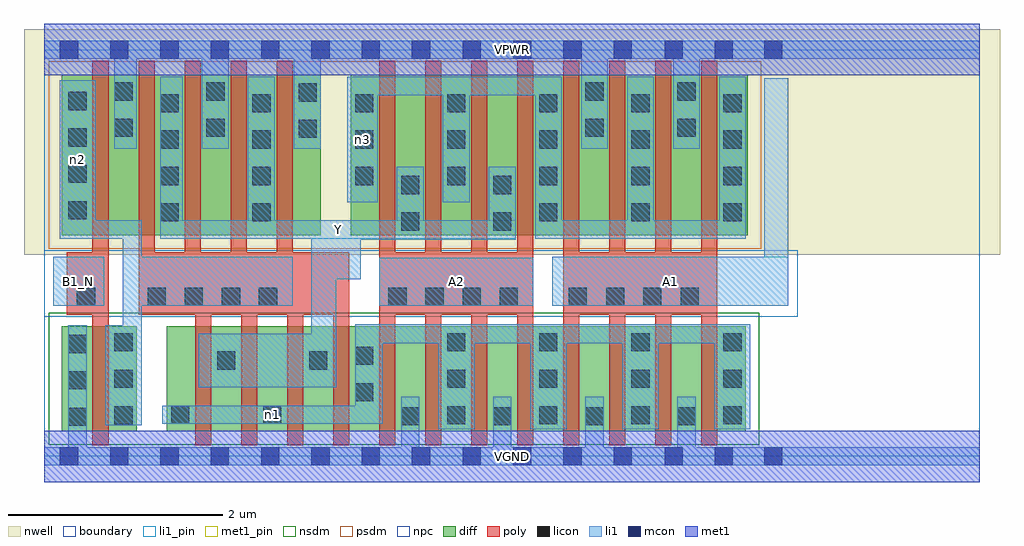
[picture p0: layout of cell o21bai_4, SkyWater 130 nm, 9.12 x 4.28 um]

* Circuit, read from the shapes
.subckt o21bai_4 A1 A2 B1_N VGND VPWR Y n1 n2 n3
XM1 n2 B1_N VGND VSUBS sky130_fd_pr__nfet_01v8 w=0.98 l=0.15
XM2 Y n2 n1 VSUBS sky130_fd_pr__nfet_01v8 w=0.98 l=0.15 m=4
XM3 VGND A2 n1 VSUBS sky130_fd_pr__nfet_01v8 w=0.98 l=0.15 m=4
XM4 VGND A1 n1 VSUBS sky130_fd_pr__nfet_01v8 w=0.98 l=0.15 m=4
XM5 VPWR B1_N n2 n4 sky130_fd_pr__pfet_01v8 w=1.5 l=0.15
XM6 Y n2 VPWR n4 sky130_fd_pr__pfet_01v8 w=1.5 l=0.15 m=4
XM7 Y A2 n3 n4 sky130_fd_pr__pfet_01v8 w=1.5 l=0.15 m=4
XM8 VPWR A1 n3 n4 sky130_fd_pr__pfet_01v8 w=1.5 l=0.15 m=4
.ends

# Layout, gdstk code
import gdstk
lib = gdstk.Library(unit=1e-6, precision=1e-09)
def R(c, l, rs):  # rectangles x0, y0, x1, y1
    for r in rs: c.add(gdstk.rectangle(r[:2], r[2:], *l))
def A(c, l, x, y, w, h, nx, ny, dx, dy):  # array of equal rectangles
    R(c, l, [(x+i*dx, y+j*dy, x+i*dx+w, y+j*dy+h) for i in range(nx) for j in range(ny)])
nwell = (64, 20)
diff = (65, 20)
poly = (66, 20)
licon = (66, 44)
li1_pin = (67, 16)
li1 = (67, 20)
mcon = (67, 44)
met1_pin = (68, 16)
met1 = (68, 20)
nsdm = (93, 44)
psdm = (94, 20)
npc = (95, 20)
boundary = (235, 4)

o21bai_4 = lib.new_cell('o21bai_4')
R(o21bai_4, nwell, [(-0.19,1.885,8.93,3.99), (0,1.885,8.74,3.99)])
R(o21bai_4, diff, [(0.165,0.235,0.865,1.215), (1.145,0.235,6.555,1.215), (0.165,2.065,2.585,3.565), (2.865,2.065,6.575,3.565)])
A(o21bai_4, poly, 1.41, 0.105, 0.15, 1.8, 4, 1, 0.43, 0)
A(o21bai_4, poly, 3.13, 0.105, 0.15, 3.59, 8, 1, 0.43, 0)
A(o21bai_4, poly, 0.88, 1.325, 0.15, 2.37, 4, 1, 0.43, 0)
R(o21bai_4, poly, [(0.45,0.105,0.6,3.695), (0.21,1.325,0.6,1.905), (0.88,1.325,2.85,1.905), (3.13,1.325,4.57,1.905), (4.85,1.325,6.29,1.905)])
A(o21bai_4, licon, 0.225, 0.285, 0.17, 0.17, 1, 3, 0, 0.34)
A(o21bai_4, licon, 3.335, 0.29, 0.17, 0.17, 4, 1, 0.86, 0)
A(o21bai_4, licon, 0.655, 0.3, 0.17, 0.17, 1, 3, 0, 0.34)
A(o21bai_4, licon, 3.765, 0.3, 0.17, 0.17, 4, 3, 0.86, 0.34)
A(o21bai_4, licon, 1.085, 2.195, 0.17, 0.17, 1, 4, 0, 0.34)
A(o21bai_4, licon, 1.945, 2.195, 0.17, 0.17, 1, 4, 0, 0.34)
A(o21bai_4, licon, 4.625, 2.195, 0.17, 0.17, 3, 1, 0.86, 0)
A(o21bai_4, licon, 0.225, 2.215, 0.17, 0.17, 1, 4, 0, 0.34)
A(o21bai_4, licon, 2.905, 2.535, 0.17, 0.17, 5, 3, 0.86, 0.34)
R(o21bai_4, licon, [(1.185,0.305,1.355,0.475), (2.045,0.305,2.215,0.475), (2.905,0.515,3.075,0.685), (1.615,0.81,1.785,0.98), (2.475,0.81,2.645,0.98), (2.905,0.855,3.075,1.025), (0.305,1.405,0.475,1.575), (0.965,1.405,1.135,1.575), (1.31,1.405,1.48,1.575), (1.66,1.405,1.83,1.575), (2.005,1.405,2.175,1.575), (3.215,1.405,3.385,1.575), (3.56,1.405,3.73,1.575), (3.91,1.405,4.08,1.575), (4.255,1.405,4.425,1.575), (4.9,1.405,5.07,1.575), (5.25,1.405,5.42,1.575), (5.595,1.405,5.765,1.575), (5.945,1.405,6.115,1.575), (3.335,2.11,3.505,2.28), (4.195,2.11,4.365,2.28), (3.335,2.45,3.505,2.62), (4.195,2.45,4.365,2.62), (2.375,2.975,2.545,3.145), (0.655,2.985,0.825,3.155), (1.515,2.985,1.685,3.155), (5.055,2.985,5.225,3.155), (5.915,2.985,6.085,3.155), (2.375,3.315,2.545,3.485), (0.655,3.325,0.825,3.495), (1.515,3.325,1.685,3.495), (5.055,3.325,5.225,3.495), (5.915,3.325,6.085,3.495)])
R(o21bai_4, li1_pin, [(0.085,1.405,0.56,1.865), (3.13,1.405,4.57,1.855), (4.745,1.405,6.95,1.865), (1.085,2.035,4.405,2.205)])
A(o21bai_4, li1, 3.335, -0.085, 0.17, 0.64, 4, 1, 0.86, 0)
A(o21bai_4, li1, 3.68, 0.255, 0.34, 0.98, 3, 1, 0.86, 0)
A(o21bai_4, li1, 4.585, 2.035, 0.25, 1.51, 3, 1, 0.86, 0)
R(o21bai_4, li1, [(0,-0.085,8.74,0.085), (0.225,-0.085,0.395,1.225), (6.26,0.255,6.595,1.235), (0.57,0.29,0.91,1.225), (0.735,0.29,0.91,2.205), (1.1,0.305,3.16,0.475), (2.905,0.305,3.16,1.235), (1.445,0.645,2.73,1.145), (2.495,0.645,2.73,2.205), (2.905,1.055,6.595,1.235), (0.085,1.405,0.56,1.865), (0.735,1.405,2.32,1.865), (3.13,1.405,4.57,1.855), (4.745,1.405,6.95,1.865), (6.725,1.405,6.95,3.535), (2.495,1.655,2.955,2.205), (2.495,2.025,4.405,2.205), (3.295,2.025,3.545,2.705), (4.155,2.025,4.405,2.705), (0.145,2.035,0.48,3.515), (0.145,2.035,0.91,2.205), (1.085,2.035,4.405,2.205), (1.085,2.035,1.295,3.545), (1.9,2.035,2.155,3.545), (4.585,2.035,6.555,2.205), (2.83,2.375,3.115,3.545), (3.725,2.375,3.975,3.545), (0.655,2.875,0.865,3.885), (1.47,2.875,1.725,3.885), (2.33,2.875,2.585,3.885), (5.015,2.875,5.265,3.885), (5.875,2.875,6.125,3.885), (2.83,3.375,4.835,3.545), (0,3.715,8.74,3.885)])
A(o21bai_4, mcon, 0.145, -0.085, 0.17, 0.17, 8, 2, 0.47, 3.8)
A(o21bai_4, mcon, 3.91, -0.085, 0.17, 0.17, 4, 2, 0.47, 3.8)
R(o21bai_4, mcon, [(5.795,-0.085,5.965,0.085), (6.265,-0.085,6.435,0.085), (6.725,-0.085,6.895,0.085), (5.795,3.715,5.965,3.885), (6.265,3.715,6.435,3.885), (6.725,3.715,6.895,3.885)])
R(o21bai_4, met1_pin, [(0,-0.24,8.74,0.24), (0,3.56,8.74,4.04)])
R(o21bai_4, met1, [(0,-0.24,8.74,0.24), (0,3.56,8.74,4.04)])
R(o21bai_4, nsdm, [(0.04,0.11,6.68,1.34)])
R(o21bai_4, psdm, [(0.04,1.94,6.7,3.69)])
R(o21bai_4, npc, [(0,1.305,7.04,1.925)])
R(o21bai_4, boundary, [(0,0,8.74,3.8)])
o21bai_4.add(gdstk.Label('A1', (5.847,1.635), layer=67, texttype=5))
o21bai_4.add(gdstk.Label('A2', (3.85,1.63), layer=67, texttype=5))
o21bai_4.add(gdstk.Label('B1_N', (0.322,1.635), layer=67, texttype=5))
o21bai_4.add(gdstk.Label('Y', (2.745,2.12), layer=67, texttype=5))
o21bai_4.add(gdstk.Label('n1', (2.13,0.39), layer=67, texttype=5))
o21bai_4.add(gdstk.Label('n2', (0.312,2.775), layer=67, texttype=5))
o21bai_4.add(gdstk.Label('n3', (2.972,2.96), layer=67, texttype=5))
o21bai_4.add(gdstk.Label('VPWR', (4.37,3.8), layer=68, texttype=5))
o21bai_4.add(gdstk.Label('VGND', (4.37,0), layer=68, texttype=5))
o21bai_4.add(gdstk.Label('A1', (5.847,1.635), layer=67, texttype=16))
o21bai_4.add(gdstk.Label('A2', (3.85,1.63), layer=67, texttype=16))
o21bai_4.add(gdstk.Label('B1_N', (0.322,1.635), layer=67, texttype=16))
o21bai_4.add(gdstk.Label('Y', (2.745,2.12), layer=67, texttype=16))
o21bai_4.add(gdstk.Label('VPWR', (4.37,3.8), layer=68, texttype=16))
o21bai_4.add(gdstk.Label('VGND', (4.37,0), layer=68, texttype=16))

lib.write_gds('o21bai_4.gds')
